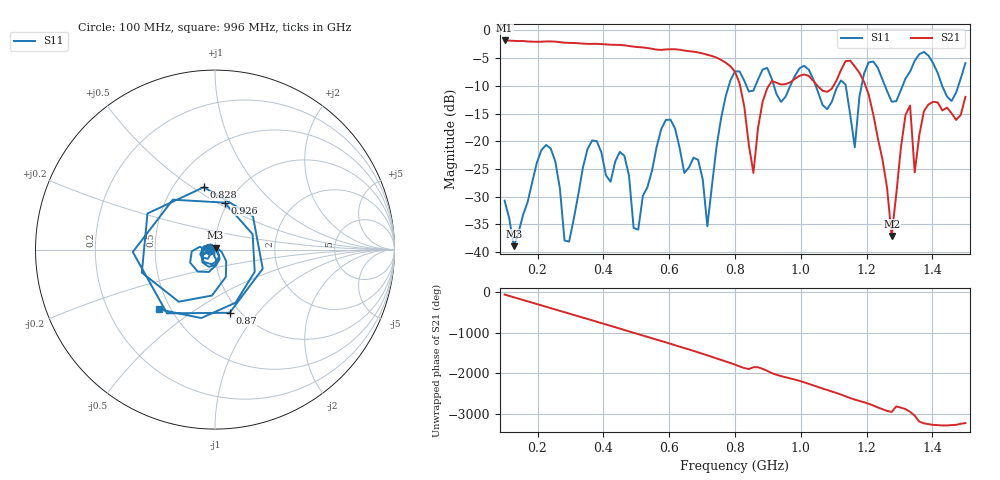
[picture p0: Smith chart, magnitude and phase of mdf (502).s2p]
! NanoVNA-App
! Date: 2025-09-25 15:42:19
! Start: 100MHz Stop: 1,5GHz Points: 101
! S-Parameter data: F S11 S21 S12 S22
# Hz S RI R 50
!  Frequency  S11_Real  S11_Imag  S21_Real  S21_Imag  S12_Real  S12_Imag  S22_Real  S22_Imag
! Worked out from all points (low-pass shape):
!   101 points, 100 MHz to 1.5 GHz, reference 50 ohm
!   highest |S21| = -1.80 dB at 100 MHz (marker M1); lowest = -37.1 dB at 1.276 GHz (marker M2)
!   |S21| within 3 dB of the highest: start of sweep to 739.1 MHz
!   lowest |S11| = -39.0 dB at 128 MHz (marker M3), VSWR 1.02, Z = 50.3 + j1.08 ohm
!   |S11| at or under -10 dB: start of sweep to 781.1 MHz; 1.045 GHz to 1.113 GHz (67.38 MHz wide, 6.24 % of centre); 1.256 GHz to 1.309 GHz (53.46 MHz wide, 4.17 % of centre)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
!   S12 and S22 are empty: the file has one direction only
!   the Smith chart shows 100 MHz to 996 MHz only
!   S11 on the Smith chart (normalised r, x): 100 MHz: 0.94, -0.01; 828 MHz: 0.70, +0.56; 870 MHz: 0.90, -0.73; 926 MHz: 0.96, +0.54; 996 MHz: 0.43, -0.36
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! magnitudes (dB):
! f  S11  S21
! 100 MHz  -30.7  -1.8
! 128 MHz  -39.0  -1.9
! 212 MHz  -21.6  -2.0
! 282 MHz  -37.9  -2.2
! 338 MHz  -24.7  -2.4
! 464 MHz  -22.6  -2.7
! 506 MHz  -36.0  -3.0
! 576 MHz  -17.8  -3.5
! 716 MHz  -35.3  -4.4
! 800 MHz  -7.4  -7.4
! 828 MHz  -9.0  -13.6
! 856 MHz  -10.9  -25.7
! 870 MHz  -8.8  -17.6
! 926 MHz  -11.5  -9.5
! 996 MHz  -6.8  -8.2
! 1.038 GHz  -8.8  -9.1
! 1.164 GHz  -21.1  -6.5
! 1.192 GHz  -7.8  -9.3
! 1.276 GHz  -12.9  -37.1
! 1.332 GHz  -7.4  -13.6
! 1.346 GHz  -5.5  -25.6
! 1.5 GHz  -5.9  -12.0
